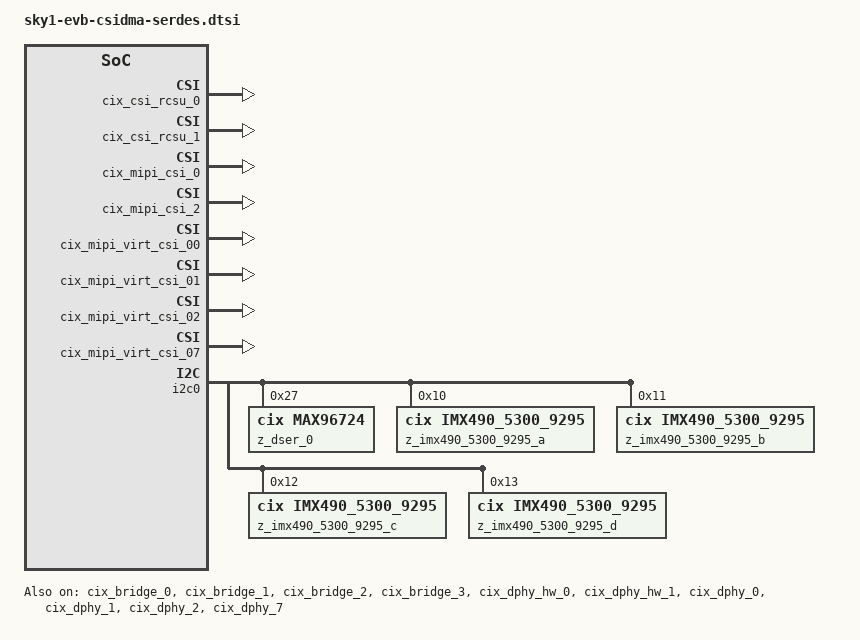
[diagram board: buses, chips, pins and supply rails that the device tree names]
// SPDX-License-Identifier: GPL-2.0
/*
 * Copyright 2024 Cix Technology Group Co., Ltd.
 */

#include "sky1-csidma-common.dtsi"

#define PLATFORM_ID  PLATFORM_A0_SOC

&cix_dma_dev_0 {
	sync = <0>;
	channel_id = <0>;
	dphy_mode = <0>;
	cix,rcsu = <&cix_csi_rcsu_0>;
	cix,hw = <&cix_bridge_0>;
	status = "okay";
	iommus = <&smmu_mmhub 0x21>;
	port {
		DEFINE_TWO_ENDPOINT(cix_dma_dev_0_in,mipi_csi2_virt00_out);
	};
};

&cix_dma_dev_1 {
	sync = <0>;
	channel_id = <0>;
	dphy_mode = <0>;
	cix,rcsu = <&cix_csi_rcsu_0>;
	cix,hw = <&cix_bridge_1>;
	status = "okay";
	memory-region = <&csi_dma_res_mem>;
	port {
		DEFINE_TWO_ENDPOINT(cix_dma_dev_1_in,mipi_csi2_virt01_out);
	};
};

&cix_dma_dev_2 {
	sync = <0>;
	channel_id = <0>;
	dphy_mode = <0>;
	cix,rcsu = <&cix_csi_rcsu_1>;
	cix,hw = <&cix_bridge_2>;
	status = "okay";
	iommus = <&smmu_mmhub 0x22>;
	port {
		DEFINE_TWO_ENDPOINT(cix_dma_dev_2_in,mipi_csi2_virt02_out);
	};
};

&cix_dma_dev_3 {
	sync = <0>;
	channel_id = <2>;
	dphy_mode = <0>;
	cix,rcsu = <&cix_csi_rcsu_1>;
	cix,hw = <&cix_bridge_3>;
	status = "okay";
	memory-region = <&csi_dma_res_mem>;
	port {
		DEFINE_TWO_ENDPOINT(cix_dma_dev_3_in,mipi_csi2_virt07_out);
	};
};

&cix_csi_rcsu_0 {
	platform-id = <PLATFORM_ID>;
	status = "okay";
};

&cix_csi_rcsu_1 {
	platform-id = <PLATFORM_ID>;
	status = "okay";
};

&cix_bridge_0 {
	status = "okay";
};

&cix_bridge_1 {
	status = "okay";
};

&cix_bridge_2 {
	status = "okay";
};

&cix_bridge_3 {
	status = "okay";
};

&cix_mipi_csi_0 {
	lanes = <4>;
	status = "okay";
};

&cix_mipi_csi_2 {
	lanes = <4>;
	status = "okay";
};

&cix_mipi_virt_csi_00 {
	cix,hw = <&cix_mipi_csi_0>;
	status = "okay";
	vc = <0>;
	ports {
		#address-cells = <1>;
		#size-cells = <0>;
		DEFINE_PORT_WITH_ENDPOINT(0,0,DEFINE_FOUR_ENDPOINT(mipi_csi2_virt00_in,1,1,dphy0_out));
		DEFINE_PORT_WITH_ENDPOINT(1,1,DEFINE_FOUR_ENDPOINT(mipi_csi2_virt00_out,0,0,cix_dma_dev_0_in));
	};
};

&cix_mipi_virt_csi_01 {
	cix,hw = <&cix_mipi_csi_0>;
	status = "okay";
	vc = <1>;
	ports {
		#address-cells = <1>;
		#size-cells = <0>;
		DEFINE_PORT_WITH_ENDPOINT(0,0,DEFINE_FOUR_ENDPOINT(mipi_csi2_virt01_in,1,1,dphy1_out));
		DEFINE_PORT_WITH_ENDPOINT(1,1,DEFINE_FOUR_ENDPOINT(mipi_csi2_virt01_out,0,0,cix_dma_dev_1_in));
	};
};

&cix_mipi_virt_csi_02 {
	cix,hw = <&cix_mipi_csi_0>;
	status = "okay";
	vc = <2>;
	ports {
		#address-cells = <1>;
		#size-cells = <0>;
		DEFINE_PORT_WITH_ENDPOINT(0,0,DEFINE_FOUR_ENDPOINT(mipi_csi2_virt02_in,1,1,dphy2_out));
		DEFINE_PORT_WITH_ENDPOINT(1,1,DEFINE_FOUR_ENDPOINT(mipi_csi2_virt02_out,0,0,cix_dma_dev_2_in));
	};
};

&cix_mipi_virt_csi_07 {
	cix,hw = <&cix_mipi_csi_2>;
	status = "okay";
	vc = <0>;
	ports {
		#address-cells = <1>;
		#size-cells = <0>;
		DEFINE_PORT_WITH_ENDPOINT(0,0,DEFINE_FOUR_ENDPOINT(mipi_csi2_virt07_in,1,1,dphy7_out));
		DEFINE_PORT_WITH_ENDPOINT(1,1,DEFINE_FOUR_ENDPOINT(mipi_csi2_virt07_out,0,0,cix_dma_dev_3_in));
	};
};

&cix_dphy_hw_0 {
	status = "okay";
};

&cix_dphy_hw_1 {
	status = "okay";
};

&cix_dphy_0 {
	status = "okay";
	#address-cells = <1>;
	#size-cells = <0>;
	ports {
		#address-cells = <1>;
		#size-cells = <0>;
		DEFINE_PORT_WITH_ENDPOINT(0,0,DEFINE_FOUR_DPHY_IN_ENDPOINT(dphy0_in,1,1,imx490_5300_9295_a_out));
		DEFINE_PORT_WITH_ENDPOINT(1,1,DEFINE_FOUR_ENDPOINT(dphy0_out,0,0,mipi_csi2_virt00_in));
	};
};

&cix_dphy_1 {
	status = "okay";
	#address-cells = <1>;
	#size-cells = <0>;
	ports {
		#address-cells = <1>;
		#size-cells = <0>;
		DEFINE_PORT_WITH_ENDPOINT(0,0,DEFINE_FOUR_DPHY_IN_ENDPOINT(dphy1_in,1,1,imx490_5300_9295_b_out));
		DEFINE_PORT_WITH_ENDPOINT(1,1,DEFINE_FOUR_ENDPOINT(dphy1_out,0,0,mipi_csi2_virt01_in));
	};
};

&cix_dphy_2 {
	status = "okay";
	#address-cells = <1>;
	#size-cells = <0>;
	ports {
		#address-cells = <1>;
		#size-cells = <0>;
		DEFINE_PORT_WITH_ENDPOINT(0,0,DEFINE_FOUR_DPHY_IN_ENDPOINT(dphy2_in,1,1,imx490_5300_9295_c_out));
		DEFINE_PORT_WITH_ENDPOINT(1,1,DEFINE_FOUR_ENDPOINT(dphy2_out,0,0,mipi_csi2_virt02_in));
	};
};

&cix_dphy_7 {
	status = "okay";
	#address-cells = <1>;
	#size-cells = <0>;
	ports {
		#address-cells = <1>;
		#size-cells = <0>;
		DEFINE_PORT_WITH_ENDPOINT(0,0,DEFINE_FOUR_DPHY_IN_ENDPOINT(dphy7_in,1,1,imx490_5300_9295_d_out));
		DEFINE_PORT_WITH_ENDPOINT(1,1,DEFINE_FOUR_ENDPOINT(dphy7_out,0,0,mipi_csi2_virt07_in));
	};
};

&i2c0 {

	z_dser_0: max96724@27 {
		compatible = "cix,max96724";
		#address-cells = <1>;
		#size-cells = <0>;
		reg = <0x27>;
		/*interrupt-parent = <&gpio0>;*/
		/*interrupts = <RK_PB7 IRQ_TYPE_EDGE_RISING>;*/
		/*pinctrl-names = "default","gpio";*/
		/*pinctrl-0 = <&pinctrl_lt7911_hw>;*/
		/*pinctrl-1 = <&pinctrl_lt7911_hw>;*/
		/*pwdn-gpios = <&fch_gpio0 15 GPIO_ACTIVE_HIGH>;*/
		/*power-gpios = <&fch_gpio1 16 GPIO_ACTIVE_HIGH>;*/
		/*power1-gpios = <&fch_gpio1 18 GPIO_ACTIVE_HIGH>;*/
		/*reset-gpios = <&fch_gpio1 12 GPIO_ACTIVE_HIGH>;*/
		status = "okay";
	};

	z_imx490_5300_9295_a {
		status = "okay";
		def-addr = <0x6d>; /* actual i2c address of imx390 */
		nvidia,gmsl-dser-device = <&z_dser_0>;
		des-link = "A";
		compatible = "cix,imx490_5300_9295";
		reg = <0x10>; /* 9295 will translate to this i2c address */

		physical_w = "15.0";
		physical_h = "12.5";
		sensor_model ="imx490";

		/* enable CID_SENSOR_MODE_ID for sensor modes selection */
		use_sensor_mode_id = "true";

		mode0 {
			mclk_khz = "24000";
			num_lanes = "4";
			tegra_sinterface = "serial_c";
			vc_id = "0";
			discontinuous_clk = "no";
			dpcm_enable = "false";
			cil_settletime = "0";
			dynamic_pixel_bit_depth = "16";
			csi_pixel_bit_depth = "16";
			mode_type = "yuv";
			pixel_phase = "uyvy";

			active_w = "2880";
			active_h = "1860";
			readout_orientation = "0";
			line_length = "4400";
			inherent_gain = "1";
			pix_clk_hz = "165000000";
			serdes_pix_clk_hz = "800000000";

			gain_factor = "10";
			min_gain_val = "0"; /* dB */
			max_gain_val = "420"; /* dB */
			step_gain_val = "3"; /* 0.3 */
			default_gain = "150";
			min_hdr_ratio = "1";
			max_hdr_ratio = "1";
			framerate_factor = "1000000";
			min_framerate = "30000000";
			max_framerate = "30000000";
			step_framerate = "1";
			default_framerate = "30000000";
			exposure_factor = "1000000";
			min_exp_time = "59"; /*us, 2 lines*/
			max_exp_time = "33333";
			step_exp_time = "1";
			default_exp_time = "33333";/* us */
			embedded_metadata_height = "0";
		};

		gmsl-link {
			num-ser-lanes = <4>;
			streams = "yuv16";
		};

		port {
			DEFINE_TWO_WITH_SENSOR_ENDPOINT(imx490_5300_9295_a_out,dphy0_in);
		};
	};

	z_imx490_5300_9295_b {
		status = "okay";
		def-addr = <0x6d>; /* actual i2c address of imx390 */
		nvidia,gmsl-dser-device = <&z_dser_0>;
		des-link = "B";
		compatible = "cix,imx490_5300_9295";
		reg = <0x11>; /* 9295 will translate to this i2c address */

		physical_w = "15.0";
		physical_h = "12.5";
		sensor_model ="imx490";

		/* enable CID_SENSOR_MODE_ID for sensor modes selection */
		use_sensor_mode_id = "true";

		mode0 {
			mclk_khz = "24000";
			num_lanes = "4";
			tegra_sinterface = "serial_c";
			vc_id = "0";
			discontinuous_clk = "no";
			dpcm_enable = "false";
			cil_settletime = "0";
			dynamic_pixel_bit_depth = "16";
			csi_pixel_bit_depth = "16";
			mode_type = "yuv";
			pixel_phase = "uyvy";

			active_w = "2880";
			active_h = "1860";
			readout_orientation = "0";
			line_length = "4400";
			inherent_gain = "1";
			pix_clk_hz = "165000000";
			serdes_pix_clk_hz = "800000000";

			gain_factor = "10";
			min_gain_val = "0"; /* dB */
			max_gain_val = "420"; /* dB */
			step_gain_val = "3"; /* 0.3 */
			default_gain = "150";
			min_hdr_ratio = "1";
			max_hdr_ratio = "1";
			framerate_factor = "1000000";
			min_framerate = "30000000";
			max_framerate = "30000000";
			step_framerate = "1";
			default_framerate = "30000000";
			exposure_factor = "1000000";
			min_exp_time = "59"; /*us, 2 lines*/
			max_exp_time = "33333";
			step_exp_time = "1";
			default_exp_time = "33333";/* us */
			embedded_metadata_height = "0";
		};

		gmsl-link {
			num-ser-lanes = <4>;
			streams = "yuv16";
		};

		port {
			DEFINE_TWO_WITH_SENSOR_ENDPOINT(imx490_5300_9295_b_out,dphy1_in);
		};
	};

	z_imx490_5300_9295_c {
		status = "okay";
		def-addr = <0x6d>; /* actual i2c address of imx390 */
		nvidia,gmsl-dser-device = <&z_dser_0>;
		des-link = "C";
		compatible = "cix,imx490_5300_9295";
		reg = <0x12>; /* 9295 will translate to this i2c address */

		physical_w = "15.0";
		physical_h = "12.5";
		sensor_model ="imx490";

		/* enable CID_SENSOR_MODE_ID for sensor modes selection */
		use_sensor_mode_id = "true";

		mode0 {
			mclk_khz = "24000";
			num_lanes = "4";
			tegra_sinterface = "serial_c";
			vc_id = "0";
			discontinuous_clk = "no";
			dpcm_enable = "false";
			cil_settletime = "0";
			dynamic_pixel_bit_depth = "16";
			csi_pixel_bit_depth = "16";
			mode_type = "yuv";
			pixel_phase = "uyvy";

			active_w = "2880";
			active_h = "1860";
			readout_orientation = "0";
			line_length = "4400";
			inherent_gain = "1";
			pix_clk_hz = "165000000";
			serdes_pix_clk_hz = "800000000";

			gain_factor = "10";
			min_gain_val = "0"; /* dB */
			max_gain_val = "420"; /* dB */
			step_gain_val = "3"; /* 0.3 */
			default_gain = "150";
			min_hdr_ratio = "1";
			max_hdr_ratio = "1";
			framerate_factor = "1000000";
			min_framerate = "30000000";
			max_framerate = "30000000";
			step_framerate = "1";
			default_framerate = "30000000";
			exposure_factor = "1000000";
			min_exp_time = "59"; /*us, 2 lines*/
			max_exp_time = "33333";
			step_exp_time = "1";
			default_exp_time = "33333";/* us */
			embedded_metadata_height = "0";
		};

		gmsl-link {
			num-ser-lanes = <4>;
			streams = "yuv16";
		};

		port {
			DEFINE_TWO_WITH_SENSOR_ENDPOINT(imx490_5300_9295_c_out,dphy2_in);
		};
	};

	z_imx490_5300_9295_d {
		status = "okay";
		def-addr = <0x6d>; /* actual i2c address of imx390 */
		nvidia,gmsl-dser-device = <&z_dser_0>;
		des-link = "D";
		compatible = "cix,imx490_5300_9295";
		reg = <0x13>; /* 9295 will translate to this i2c address */

		physical_w = "15.0";
		physical_h = "12.5";
		sensor_model ="imx490";

		/* enable CID_SENSOR_MODE_ID for sensor modes selection */
		use_sensor_mode_id = "true";

		mode0 {
			mclk_khz = "24000";
			num_lanes = "4";
			tegra_sinterface = "serial_c";
			vc_id = "0";
			discontinuous_clk = "no";
			dpcm_enable = "false";
			cil_settletime = "0";
			dynamic_pixel_bit_depth = "16";
			csi_pixel_bit_depth = "16";
			mode_type = "yuv";
			pixel_phase = "uyvy";

			active_w = "2880";
			active_h = "1860";
			readout_orientation = "0";
			line_length = "4400";
			inherent_gain = "1";
			pix_clk_hz = "165000000";
			serdes_pix_clk_hz = "800000000";

			gain_factor = "10";
			min_gain_val = "0"; /* dB */
			max_gain_val = "420"; /* dB */
			step_gain_val = "3"; /* 0.3 */
			default_gain = "150";
			min_hdr_ratio = "1";
			max_hdr_ratio = "1";
			framerate_factor = "1000000";
			min_framerate = "30000000";
			max_framerate = "30000000";
			step_framerate = "1";
			default_framerate = "30000000";
			exposure_factor = "1000000";
			min_exp_time = "59"; /*us, 2 lines*/
			max_exp_time = "33333";
			step_exp_time = "1";
			default_exp_time = "33333";/* us */
			embedded_metadata_height = "0";
		};

		gmsl-link {
			num-ser-lanes = <4>;
			streams = "yuv16";
		};

		port {
			DEFINE_TWO_WITH_SENSOR_ENDPOINT(imx490_5300_9295_d_out,dphy7_in);
		};
	};
};
